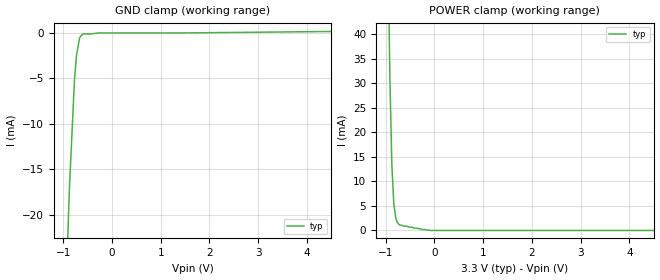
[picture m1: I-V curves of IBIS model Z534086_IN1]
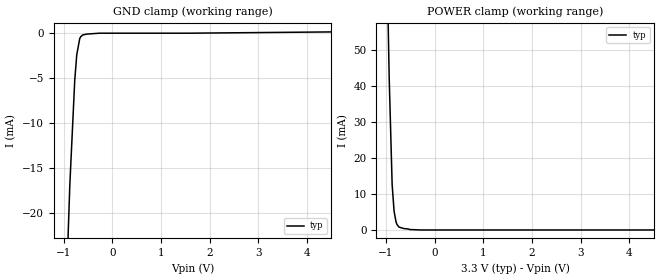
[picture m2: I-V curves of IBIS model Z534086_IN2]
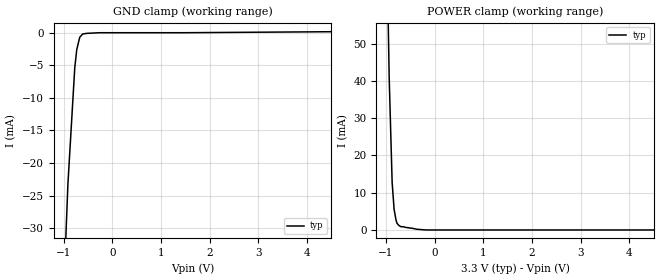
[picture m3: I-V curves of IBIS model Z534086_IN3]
| YOU ARE ONLY AUTHORIZED TO USE THIS SOFTWARE
| ACCORDING TO LICENSOR'S LICENSE RESTRICTIONS.
[IBIS Ver] 3.1
[File Name] mc100lvel51d_pecl.ibs
[File Rev] 2.0
[Source] Measured and created by ICX Technology
[Date] Friday 7/14/00 9:08:22 AM
[Copyright]
| (C) COPYRIGHT 1993-2000
| MENTOR GRAPHICS CORPORATION
| ICX STANDARD LIBRARY, ICX PROJECT MODELING,
| ICX CUSTOM MODELING, ICX VENDOR MODEL
| ALL RIGHTS RESERVED.
| THE FOLLOWING ARE TRADEMARKS OR SERVICE MARKS OF
| MENTOR GRAPHICS CORPORATION:ICX (R), ICX STANDARD
| LIBRARY(R), ICX PROJECT MODELING(R), ICX CUSTOM
| MODELING(R), qualityIBIS(TM), MODELVIEWER(TM),
| AND MODELEDITOR(TM)
| ALL COPIES OF SOFTWARE, INCLUDING BUT NOT LIMITED TO
| ANY MODIFICATIONS, ENHANCEMENTS OR DERIVATIVE WORKS,
| MUST CONTAIN ALL MENTOR GRAPHICS CORPORATION'S
| NOTICES AND LEGENDS, INCLUDING THOSE EMBEDDED IN
| SOFTWARE AND THOSE AFFIXED TO SOFTWARE MEDIUM
| AND CONTAINER, AS RECEIVED FROM MENTOR GRAPHICS
| CORPORATION.
|  ZAP Model Builder 2.7
[Component] MC100LVEL51D_PECL
[Manufacturer] OnSemiconductor
[Package]
| variable   typ   min   max
R_pkg  .152ohms NA NA
L_pkg  2.714nH NA NA
C_pkg  .364pF NA NA
[Pin] signal_name  model_name  R_pin  L_pin C_pin
1 R Z534086_IN1 .154 2.924n .374p
2 D Z534086_IN2 .15 2.504n .354p
3 CLK Z534086_IN3 .15 2.504n .354p
4 _CLK Z534086_IN3 .154 2.924n .374p
5 VEE GND .154 2.924n .374p
6 _Q Z534086_OUT6 .15 2.504n .354p
7 Q Z534086_OUT6 .15 2.504n .354p
8 VCC POWER .154 2.924n .374p
| Models and submodels in the file (4): Z534086_IN1 (Input_ECL), Z534086_IN2 (Input_ECL), Z534086_IN3 (Input_ECL), Z534086_OUT6 (Output_ECL)
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| (C) COPYRIGHT 1993-2000
| MENTOR GRAPHICS CORPORATION
| ICX STANDARD LIBRARY, ICX PROJECT MODELING,
| ICX CUSTOM MODELING, ICX VENDOR MODEL
| ALL RIGHTS RESERVED.
| THE FOLLOWING ARE TRADEMARKS OR SERVICE MARKS OF
| MENTOR GRAPHICS CORPORATION:ICX (R), ICX STANDARD
| LIBRARY(R), ICX PROJECT MODELING(R), ICX CUSTOM
| MODELING(R), qualityIBIS(TM), MODELVIEWER(TM),
| AND MODELEDITOR(TM)
| ALL COPIES OF SOFTWARE, INCLUDING BUT NOT LIMITED TO
| ANY MODIFICATIONS, ENHANCEMENTS OR DERIVATIVE WORKS,
| MUST CONTAIN ALL MENTOR GRAPHICS CORPORATION'S
| NOTICES AND LEGENDS, INCLUDING THOSE EMBEDDED IN
| SOFTWARE AND THOSE AFFIXED TO SOFTWARE MEDIUM
| AND CONTAINER, AS RECEIVED FROM MENTOR GRAPHICS
| CORPORATION.
| Model Application Version 1.89 2/18/99.
[Model] Z534086_IN1
Model_type Input_ECL
Vinl = 2.115V
Vinh = 2.301V
C_comp 4.000pF NA NA
| variable typ   min   max
[Voltage Range] 3.300V NA NA
[GND Clamp Reference] 0.000V NA NA
[POWER Clamp Reference] 3.300V NA NA
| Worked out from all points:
|   GND clamp passes 1 mA (typ) near -0.68 V on its own axis
|   POWER clamp passes 1 mA (typ) near -0.66 V on its own axis
[GND Clamp]
-3.3V     -459mA     NA         NA
-1.013V   -38.8mA    NA         NA
-871mV    -16.7mA    NA         NA
-770mV    -5.2mA     NA         NA
-729mV    -2.5mA     NA         NA
-668mV    -600uA     NA         NA
-648mV    -400uA     NA         NA
-597.2mV  -100uA     NA         NA
-435.2mV  -100uA     NA         NA
-273.2mV  0A         NA         NA
1.398V    0A         NA         NA
6.6V      273.1uA    NA         NA
[POWER Clamp]
-3.3V     1.098A     NA         NA
-1.138V   187.2mA    NA         NA
-916mV    31.35mA    NA         NA
-875mV    13.35mA    NA         NA
-835mV    5.456mA    NA         NA
-794mV    2.558mA    NA         NA
-774mV    1.86mA     NA         NA
-733mV    1.262mA    NA         NA
-702.5mV  1.065mA    NA         NA
-83.33mV  0A         NA         NA
6.6V      0A         NA         NA
| (C) COPYRIGHT 1993-2000
| MENTOR GRAPHICS CORPORATION
| ICX STANDARD LIBRARY, ICX PROJECT MODELING,
| ICX CUSTOM MODELING, ICX VENDOR MODEL
| ALL RIGHTS RESERVED.
| THE FOLLOWING ARE TRADEMARKS OR SERVICE MARKS OF
| MENTOR GRAPHICS CORPORATION:ICX (R), ICX STANDARD
| LIBRARY(R), ICX PROJECT MODELING(R), ICX CUSTOM
| MODELING(R), qualityIBIS(TM), MODELVIEWER(TM),
| AND MODELEDITOR(TM)
| ALL COPIES OF SOFTWARE, INCLUDING BUT NOT LIMITED TO
| ANY MODIFICATIONS, ENHANCEMENTS OR DERIVATIVE WORKS,
| MUST CONTAIN ALL MENTOR GRAPHICS CORPORATION'S
| NOTICES AND LEGENDS, INCLUDING THOSE EMBEDDED IN
| SOFTWARE AND THOSE AFFIXED TO SOFTWARE MEDIUM
| AND CONTAINER, AS RECEIVED FROM MENTOR GRAPHICS
| CORPORATION.
| Model Application Version 1.89 2/18/99.
[Model] Z534086_IN2
Model_type Input_ECL
Vinl = 2.115V
Vinh = 2.301V
C_comp 4.000pF NA NA
| variable typ   min   max
[Voltage Range] 3.300V NA NA
[GND Clamp Reference] 0.000V NA NA
[POWER Clamp Reference] 3.300V NA NA
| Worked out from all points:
|   GND clamp passes 1 mA (typ) near -0.68 V on its own axis
|   POWER clamp passes 1 mA (typ) near -0.75 V on its own axis
[GND Clamp]
-3.3V     -465.3mA   NA         NA
-1.013V   -39.4mA    NA         NA
-871mV    -16.8mA    NA         NA
-770mV    -5.2mA     NA         NA
-729mV    -2.4mA     NA         NA
-668mV    -600uA     NA         NA
-648mV    -400uA     NA         NA
-608mV    -200uA     NA         NA
-526mV    -100uA     NA         NA
-263mV    0A         NA         NA
1.561V    0A         NA         NA
6.6V      243.8uA    NA         NA
[POWER Clamp]
-3.3V     1.128A     NA         NA
-1.159V   203.8mA    NA         NA
-936mV    42.47mA    NA         NA
-875mV    12.57mA    NA         NA
-835mV    5.175mA    NA         NA
-794mV    2.177mA    NA         NA
-774mV    1.478mA    NA         NA
-733mV    780.4uA    NA         NA
-500mV    94.15uA    NA         NA
-299.3mV  0A         NA         NA
6.6V      0A         NA         NA
| (C) COPYRIGHT 1993-2000
| MENTOR GRAPHICS CORPORATION
| ICX STANDARD LIBRARY, ICX PROJECT MODELING,
| ICX CUSTOM MODELING, ICX VENDOR MODEL
| ALL RIGHTS RESERVED.
| THE FOLLOWING ARE TRADEMARKS OR SERVICE MARKS OF
| MENTOR GRAPHICS CORPORATION:ICX (R), ICX STANDARD
| LIBRARY(R), ICX PROJECT MODELING(R), ICX CUSTOM
| MODELING(R), qualityIBIS(TM), MODELVIEWER(TM),
| AND MODELEDITOR(TM)
| ALL COPIES OF SOFTWARE, INCLUDING BUT NOT LIMITED TO
| ANY MODIFICATIONS, ENHANCEMENTS OR DERIVATIVE WORKS,
| MUST CONTAIN ALL MENTOR GRAPHICS CORPORATION'S
| NOTICES AND LEGENDS, INCLUDING THOSE EMBEDDED IN
| SOFTWARE AND THOSE AFFIXED TO SOFTWARE MEDIUM
| AND CONTAINER, AS RECEIVED FROM MENTOR GRAPHICS
| CORPORATION.
| Model Application Version 1.89 2/18/99.
[Model] Z534086_IN3
Model_type Input_ECL
Vinl = 2.115V
Vinh = 2.301V
C_comp 4.000pF NA NA
| variable typ   min   max
[Voltage Range] 3.300V NA NA
[GND Clamp Reference] 0.000V NA NA
[POWER Clamp Reference] 3.300V NA NA
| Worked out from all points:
|   GND clamp passes 1 mA (typ) near -0.68 V on its own axis
|   POWER clamp passes 1 mA (typ) near -0.71 V on its own axis
[GND Clamp]
-3.3V     -581.4mA   NA         NA
-1.074V   -54.7mA    NA         NA
-911mV    -23.3mA    NA         NA
-770mV    -5.4mA     NA         NA
-729mV    -2.6mA     NA         NA
-668mV    -700uA     NA         NA
-608mV    -200uA     NA         NA
-526mV    -100uA     NA         NA
-263mV    0A         NA         NA
1.459V    0A         NA         NA
6.6V      261.5uA    NA         NA
[POWER Clamp]
-3.3V     1.127A     NA         NA
-1.138V   192.8mA    NA         NA
-936mV    41.06mA    NA         NA
-875mV    12.76mA    NA         NA
-835mV    5.564mA    NA         NA
-794mV    2.566mA    NA         NA
-774mV    1.767mA    NA         NA
-692.5mV  873.2uA    NA         NA
-178mV    0A         NA         NA
6.6V      0A         NA         NA
